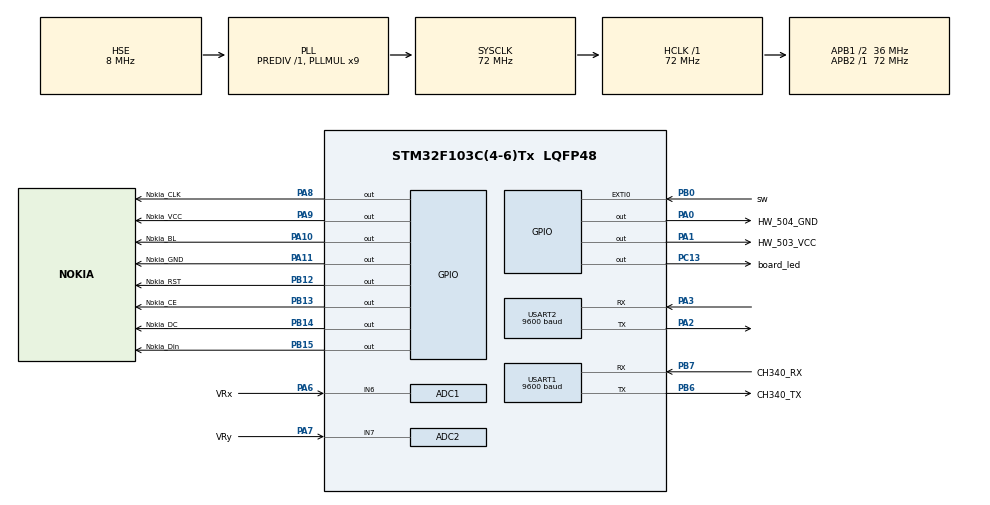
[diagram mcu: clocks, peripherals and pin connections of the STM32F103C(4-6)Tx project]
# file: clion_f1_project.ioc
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ADC1.Channel-4\#ChannelRegularConversion=ADC_CHANNEL_6
ADC1.ContinuousConvMode=DISABLE
ADC1.DataAlign=ADC_DATAALIGN_RIGHT
ADC1.EnableAnalogWatchDog=false
ADC1.EnableInjectedConversion=DISABLE
ADC1.EnableRegularConversion=ENABLE
ADC1.InjNumberOfConversion=1
ADC1.NbrOfConversion=1
ADC1.NbrOfConversionFlag=1
ADC1.Rank-4\#ChannelRegularConversion=1
ADC1.SamplingTime-4\#ChannelRegularConversion=ADC_SAMPLETIME_1CYCLE_5
ADC1.master=1
ADC2.Channel-4\#ChannelRegularConversion=ADC_CHANNEL_7
ADC2.ContinuousConvMode=DISABLE
ADC2.NbrOfConversionFlag=1
ADC2.Rank-4\#ChannelRegularConversion=1
ADC2.SamplingTime-4\#ChannelRegularConversion=ADC_SAMPLETIME_1CYCLE_5
Dma.ADC1.0.Direction=DMA_PERIPH_TO_MEMORY
Dma.ADC1.0.Instance=DMA1_Channel1
Dma.ADC1.0.MemDataAlignment=DMA_MDATAALIGN_HALFWORD
Dma.ADC1.0.MemInc=DMA_MINC_ENABLE
Dma.ADC1.0.Mode=DMA_NORMAL
Dma.ADC1.0.PeriphDataAlignment=DMA_PDATAALIGN_HALFWORD
Dma.ADC1.0.PeriphInc=DMA_PINC_DISABLE
Dma.ADC1.0.Priority=DMA_PRIORITY_HIGH
Dma.Request0=ADC1
Mcu.Family=STM32F1
Mcu.Name=STM32F103C(4-6)Tx
Mcu.Package=LQFP48
NVIC.ADC1_2_IRQn=true\:7\:0\:true\:false\:true\:true\:true\:true
NVIC.DMA1_Channel1_IRQn=true\:0\:0\:false\:false\:true\:false\:true\:true
NVIC.EXTI0_IRQn=true\:6\:0\:true\:false\:true\:true\:true\:true
NVIC.PriorityGroup=NVIC_PRIORITYGROUP_4
NVIC.TIM3_IRQn=true\:6\:0\:true\:false\:true\:true\:true\:true
NVIC.USART1_IRQn=true\:3\:0\:true\:false\:true\:true\:true\:true
PA0-WKUP.GPIO_Label=HW_504_GND
PA0-WKUP.Signal=GPIO_Output
PA1.GPIO_Label=HW_503_VCC
PA1.Signal=GPIO_Output
PA10.GPIO_Label=Nokia_BL
PA10.GPIO_Speed=GPIO_SPEED_FREQ_MEDIUM
PA10.Signal=GPIO_Output
PA11.GPIO_Label=Nokia_GND
PA11.Signal=GPIO_Output
PA13.Mode=Serial_Wire
PA13.Signal=SYS_JTMS-SWDIO
PA14.Mode=Serial_Wire
PA14.Signal=SYS_JTCK-SWCLK
PA2.Mode=Asynchronous
PA2.Signal=USART2_TX
PA3.Mode=Asynchronous
PA3.Signal=USART2_RX
PA6.GPIO_Label=VRx
PA6.Signal=ADCx_IN6
PA7.GPIO_Label=VRy
PA7.Signal=ADCx_IN7
PA8.GPIO_Label=Nokia_CLK
PA8.GPIO_Speed=GPIO_SPEED_FREQ_HIGH
PA8.Signal=GPIO_Output
PA9.GPIO_Label=Nokia_VCC
PA9.Signal=GPIO_Output
PB0.GPIO_Label=sw
PB0.GPIO_ModeDefaultEXTI=GPIO_MODE_IT_FALLING
PB0.GPIO_PuPd=GPIO_PULLUP
PB0.Signal=GPXTI0
PB12.GPIO_Label=Nokia_RST
PB12.GPIO_Speed=GPIO_SPEED_FREQ_HIGH
PB12.Signal=GPIO_Output
PB13.GPIO_Label=Nokia_CE
PB13.GPIO_Speed=GPIO_SPEED_FREQ_HIGH
PB13.Signal=GPIO_Output
PB14.GPIO_Label=Nokia_DC
PB14.GPIO_Speed=GPIO_SPEED_FREQ_MEDIUM
PB14.Signal=GPIO_Output
PB15.GPIO_Label=Nokia_Din
PB15.GPIO_Speed=GPIO_SPEED_FREQ_MEDIUM
PB15.Signal=GPIO_Output
PB6.GPIO_Label=CH340_TX
PB6.Mode=Asynchronous
PB6.Signal=USART1_TX
PB7.GPIO_Label=CH340_RX
PB7.Mode=Asynchronous
PB7.Signal=USART1_RX
PC13-TAMPER-RTC.GPIO_Label=board_led
PC13-TAMPER-RTC.GPIO_ModeDefaultOutputPP=GPIO_MODE_OUTPUT_PP
PC13-TAMPER-RTC.GPIO_PuPd=GPIO_PULLUP
PC13-TAMPER-RTC.GPIO_Speed=GPIO_SPEED_FREQ_HIGH
PC13-TAMPER-RTC.Signal=GPIO_Output
PD0-OSC_IN.Mode=HSE-External-Oscillator
PD0-OSC_IN.Signal=RCC_OSC_IN
PD1-OSC_OUT.Mode=HSE-External-Oscillator
PD1-OSC_OUT.Signal=RCC_OSC_OUT
ProjectManager.HeapSize=0x500
ProjectManager.StackSize=0x800
ProjectManager.TargetToolchain=STM32CubeIDE
RCC.ADCPresc=RCC_ADCPCLK2_DIV6
RCC.AHBFreq_Value=72000000
RCC.APB1CLKDivider=RCC_HCLK_DIV2
RCC.APB1Freq_Value=36000000
RCC.APB1TimFreq_Value=72000000
RCC.APB2Freq_Value=72000000
RCC.APB2TimFreq_Value=72000000
RCC.HCLKFreq_Value=72000000
RCC.PLLMUL=RCC_PLL_MUL9
RCC.PLLSourceVirtual=RCC_PLLSOURCE_HSE
RCC.SYSCLKFreq_VALUE=72000000
RCC.SYSCLKSource=RCC_SYSCLKSOURCE_PLLCLK
RCC.USBFreq_Value=48000000
RCC.USBPrescaler=RCC_USBCLKSOURCE_PLL_DIV1_5
SH.ADCx_IN6.0=ADC1_IN6,IN6
SH.ADCx_IN7.0=ADC1_IN7
SH.ADCx_IN7.1=ADC2_IN7,IN7
TIM3.AutoReloadPreload=TIM_AUTORELOAD_PRELOAD_ENABLE
TIM3.Period=1000
TIM3.Prescaler=72-1
USART1.BaudRate=9600
USART1.VirtualMode=VM_ASYNC
USART2.BaudRate=9600
USART2.VirtualMode=VM_ASYNC
VP_TIM3_VS_ClockSourceINT.Mode=Internal
board=custom

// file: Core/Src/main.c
/* USER CODE BEGIN Header */
/**
  ******************************************************************************
  * @file           : main.c
  * @brief          : Main program body
  ******************************************************************************
  * @attention
  *
  * Copyright (c) 2022 STMicroelectronics.
  * All rights reserved.
  *
  * This software is licensed under terms that can be found in the LICENSE file
  * in the root directory of this software component.
  * If no LICENSE file comes with this software, it is provided AS-IS.
  *
  ******************************************************************************
  */
/* USER CODE END Header */
#include "main.h"
#include "adc.h"
#include "dma.h"
#include "tim.h"
#include "usart.h"
#include "gpio.h"

/* USER CODE BEGIN Includes */
#include <stdio.h>
/* USER CODE END Includes */

/* USER CODE BEGIN PD */

/*
 * BlueTooth define
 */
#define RecDataSize 32

/*
 * Nokia 5110 define
 */
#define Nokia_RST_H()   HAL_GPIO_WritePin(Nokia_RST_GPIO_Port, Nokia_RST_Pin, GPIO_PIN_SET)
#define Nokia_RST_L()   HAL_GPIO_WritePin(Nokia_RST_GPIO_Port, Nokia_RST_Pin, GPIO_PIN_RESET)
#define Nokia_CE_H()    HAL_GPIO_WritePin(Nokia_CE_GPIO_Port, Nokia_CE_Pin, GPIO_PIN_SET)
#define Nokia_CE_L()    HAL_GPIO_WritePin(Nokia_CE_GPIO_Port, Nokia_CE_Pin, GPIO_PIN_RESET)
#define Nokia_DC_DATA() HAL_GPIO_WritePin(Nokia_DC_GPIO_Port, Nokia_DC_Pin, GPIO_PIN_SET)
#define Nokia_DC_CMD()  HAL_GPIO_WritePin(Nokia_DC_GPIO_Port, Nokia_DC_Pin, GPIO_PIN_RESET)
#define Nokia_Din_H()   HAL_GPIO_WritePin(Nokia_Din_GPIO_Port, Nokia_Din_Pin, GPIO_PIN_SET)
#define Nokia_Din_L()   HAL_GPIO_WritePin(Nokia_Din_GPIO_Port, Nokia_Din_Pin, GPIO_PIN_RESET)
#define Nokia_CLK_H()   HAL_GPIO_WritePin(Nokia_CLK_GPIO_Port, Nokia_CLK_Pin, GPIO_PIN_SET)
#define Nokia_CLK_L()   HAL_GPIO_WritePin(Nokia_CLK_GPIO_Port, Nokia_CLK_Pin, GPIO_PIN_RESET)
#define Nokia_VCC_H()   HAL_GPIO_WritePin(Nokia_VCC_GPIO_Port, Nokia_VCC_Pin, GPIO_PIN_SET)
#define Nokia_BL_H()    HAL_GPIO_WritePin(Nokia_BL_GPIO_Port, Nokia_BL_Pin, GPIO_PIN_SET)
#define Nokia_GND_L()   HAL_GPIO_WritePin(Nokia_GND_GPIO_Port, Nokia_GND_Pin, GPIO_PIN_RESET)

/* USER CODE END PD */

/* USER CODE BEGIN PM */

/*
 * BlueTooth macro
 */

/*
 * Nokia 5110 macro
 */
typedef enum
{
    DC_CMD  = 0,//写命令
    DC_DATA = 1 //写数据
}DCType;

/* USER CODE END PM */

/* USER CODE BEGIN PV */

/*
 * BlueTooth variables
 */
uint8_t RecBuffer;
uint8_t RecData[RecDataSize] = {0};
uint32_t DataPosition = 0;
int RecFlag =0;

/*
 * Nokia 5110 variables
 */

uint8_t Nokia_Init_Display[6][14] ={
        "**************",//line 1
        "**************",//line 2
        "  I Love YYY  ",//line 3
        "**************",//line 4
        "**************",//line 5
        "**************" //line 6
};

uint8_t Nokia_ADC_Display[6][14] ={
        "**************",//line 1
        "**************",//line 2
        "   Vx = 0000  ",//line 3
        "   Vy = 0000  ",//line 4
        "**************",//line 5
        "**************" //line 6
};

//char Nokia_Display[6][14] = {0};

const unsigned char  Font6x8[][6] ={
        { 0x00, 0x00, 0x00, 0x00, 0x00, 0x00 },   // sp
        { 0x00, 0x00, 0x00, 0x2f, 0x00, 0x00 },   // !
        { 0x00, 0x00, 0x07, 0x00, 0x07, 0x00 },   // "
        { 0x00, 0x14, 0x7f, 0x14, 0x7f, 0x14 },   // #
        { 0x00, 0x24, 0x2a, 0x7f, 0x2a, 0x12 },   // $
        { 0x00, 0x62, 0x64, 0x08, 0x13, 0x23 },   // %
        { 0x00, 0x36, 0x49, 0x55, 0x22, 0x50 },   // &
        { 0x00, 0x00, 0x05, 0x03, 0x00, 0x00 },   // '
        { 0x00, 0x00, 0x1c, 0x22, 0x41, 0x00 },   // (
        { 0x00, 0x00, 0x41, 0x22, 0x1c, 0x00 },   // )
        { 0x00, 0x14, 0x08, 0x3E, 0x08, 0x14 },   // *
        { 0x00, 0x08, 0x08, 0x3E, 0x08, 0x08 },   // +
        { 0x00, 0x00, 0x00, 0xA0, 0x60, 0x00 },   // ,
        { 0x00, 0x08, 0x08, 0x08, 0x08, 0x08 },   // -
        { 0x00, 0x00, 0x60, 0x60, 0x00, 0x00 },   // .
        { 0x00, 0x20, 0x10, 0x08, 0x04, 0x02 },   // /
        { 0x00, 0x3E, 0x51, 0x49, 0x45, 0x3E },   // 0
        { 0x00, 0x00, 0x42, 0x7F, 0x40, 0x00 },   // 1
        { 0x00, 0x42, 0x61, 0x51, 0x49, 0x46 },   // 2
        { 0x00, 0x21, 0x41, 0x45, 0x4B, 0x31 },   // 3
        { 0x00, 0x18, 0x14, 0x12, 0x7F, 0x10 },   // 4
        { 0x00, 0x27, 0x45, 0x45, 0x45, 0x39 },   // 5
        { 0x00, 0x3C, 0x4A, 0x49, 0x49, 0x30 },   // 6
        { 0x00, 0x01, 0x71, 0x09, 0x05, 0x03 },   // 7
        { 0x00, 0x36, 0x49, 0x49, 0x49, 0x36 },   // 8
        { 0x00, 0x06, 0x49, 0x49, 0x29, 0x1E },   // 9
        { 0x00, 0x00, 0x36, 0x36, 0x00, 0x00 },   // :
        { 0x00, 0x00, 0x56, 0x36, 0x00, 0x00 },   // ;
        { 0x00, 0x08, 0x14, 0x22, 0x41, 0x00 },   // <
        { 0x00, 0x14, 0x14, 0x14, 0x14, 0x14 },   // =
        { 0x00, 0x00, 0x41, 0x22, 0x14, 0x08 },   // >
        { 0x00, 0x02, 0x01, 0x51, 0x09, 0x06 },   // ?
        { 0x00, 0x32, 0x49, 0x59, 0x51, 0x3E },   // @
        { 0x00, 0x7C, 0x12, 0x11, 0x12, 0x7C },   // A
        { 0x00, 0x7F, 0x49, 0x49, 0x49, 0x36 },   // B
        { 0x00, 0x3E, 0x41, 0x41, 0x41, 0x22 },   // C
        { 0x00, 0x7F, 0x41, 0x41, 0x22, 0x1C },   // D
        { 0x00, 0x7F, 0x49, 0x49, 0x49, 0x41 },   // E
        { 0x00, 0x7F, 0x09, 0x09, 0x09, 0x01 },   // F
        { 0x00, 0x3E, 0x41, 0x49, 0x49, 0x7A },   // G
        { 0x00, 0x7F, 0x08, 0x08, 0x08, 0x7F },   // H
        { 0x00, 0x00, 0x41, 0x7F, 0x41, 0x00 },   // I
        { 0x00, 0x20, 0x40, 0x41, 0x3F, 0x01 },   // J
        { 0x00, 0x7F, 0x08, 0x14, 0x22, 0x41 },   // K
        { 0x00, 0x7F, 0x40, 0x40, 0x40, 0x40 },   // L
        { 0x00, 0x7F, 0x02, 0x0C, 0x02, 0x7F },   // M
        { 0x00, 0x7F, 0x04, 0x08, 0x10, 0x7F },   // N
        { 0x00, 0x3E, 0x41, 0x41, 0x41, 0x3E },   // O
        { 0x00, 0x7F, 0x09, 0x09, 0x09, 0x06 },   // P
        { 0x00, 0x3E, 0x41, 0x51, 0x21, 0x5E },   // Q
        { 0x00, 0x7F, 0x09, 0x19, 0x29, 0x46 },   // R
        { 0x00, 0x46, 0x49, 0x49, 0x49, 0x31 },   // S
        { 0x00, 0x01, 0x01, 0x7F, 0x01, 0x01 },   // T
        { 0x00, 0x3F, 0x40, 0x40, 0x40, 0x3F },   // U
        { 0x00, 0x1F, 0x20, 0x40, 0x20, 0x1F },   // V
        { 0x00, 0x3F, 0x40, 0x38, 0x40, 0x3F },   // W
        { 0x00, 0x63, 0x14, 0x08, 0x14, 0x63 },   // X
        { 0x00, 0x07, 0x08, 0x70, 0x08, 0x07 },   // Y
        { 0x00, 0x61, 0x51, 0x49, 0x45, 0x43 },   // Z
        { 0x00, 0x00, 0x7F, 0x41, 0x41, 0x00 },   // [
        { 0x00, 0x55, 0x2A, 0x55, 0x2A, 0x55 },   // 55
        { 0x00, 0x00, 0x41, 0x41, 0x7F, 0x00 },   // ]
        { 0x00, 0x04, 0x02, 0x01, 0x02, 0x04 },   // ^
        { 0x00, 0x40, 0x40, 0x40, 0x40, 0x40 },   // _
        { 0x00, 0x00, 0x01, 0x02, 0x04, 0x00 },   // '
        { 0x00, 0x20, 0x54, 0x54, 0x54, 0x78 },   // a
        { 0x00, 0x7F, 0x48, 0x44, 0x44, 0x38 },   // b
        { 0x00, 0x38, 0x44, 0x44, 0x44, 0x20 },   // c
        { 0x00, 0x38, 0x44, 0x44, 0x48, 0x7F },   // d
        { 0x00, 0x38, 0x54, 0x54, 0x54, 0x18 },   // e
        { 0x00, 0x08, 0x7E, 0x09, 0x01, 0x02 },   // f
        { 0x00, 0x18, 0xA4, 0xA4, 0xA4, 0x7C },   // g
        { 0x00, 0x7F, 0x08, 0x04, 0x04, 0x78 },   // h
        { 0x00, 0x00, 0x44, 0x7D, 0x40, 0x00 },   // i
        { 0x00, 0x40, 0x80, 0x84, 0x7D, 0x00 },   // j
        { 0x00, 0x7F, 0x10, 0x28, 0x44, 0x00 },   // k
        { 0x00, 0x00, 0x41, 0x7F, 0x40, 0x00 },   // l
        { 0x00, 0x7C, 0x04, 0x18, 0x04, 0x78 },   // m
        { 0x00, 0x7C, 0x08, 0x04, 0x04, 0x78 },   // n
        { 0x00, 0x38, 0x44, 0x44, 0x44, 0x38 },   // o
        { 0x00, 0x7C, 0x08, 0x04, 0x04, 0x08 },   // r
        { 0x00, 0x48, 0x54, 0x54, 0x54, 0x20 },   // s
        { 0x00, 0x04, 0x3F, 0x44, 0x40, 0x20 },   // t
        { 0x00, 0x3C, 0x40, 0x40, 0x20, 0x7C },   // u
        { 0x00, 0xFC, 0x24, 0x24, 0x24, 0x18 },   // p
        { 0x00, 0x18, 0x24, 0x24, 0x18, 0xFC },   // q
        { 0x00, 0x1C, 0x20, 0x40, 0x20, 0x1C },   // v
        { 0x00, 0x3C, 0x40, 0x30, 0x40, 0x3C },   // w
        { 0x00, 0x44, 0x28, 0x10, 0x28, 0x44 },   // x
        { 0x00, 0x1C, 0xA0, 0xA0, 0xA0, 0x7C },   // y
        { 0x00, 0x44, 0x64, 0x54, 0x4C, 0x44 },   // z
        { 0x14, 0x14, 0x14, 0x14, 0x14, 0x14 }    // horiz lines
        };

/*
 * HW_504 variables
 */
uint16_t Vx_Value = 0;
uint16_t Voltage[2] ={0};
uint16_t Vy_Value = 0;
uint16_t AD_Flag = 0;
/* USER CODE END PV */

void SystemClock_Config(void);
/* USER CODE BEGIN PFP */

/*
 * System function
 */
//HAL_StatusTypeDef user_delay_us(uint32_t us);
//HAL_StatusTypeDef user_delay_ms(uint32_t ms);
void user_print(const char *fmt,...);

/*
 * 中断回调函数，处理中断控制
 */
void HAL_UART_RxCpltCallback(UART_HandleTypeDef *huart);
void HAL_GPIO_EXTI_Callback(uint16_t GPIO_Pin);
void HAL_ADC_ConvCpltCallback(ADC_HandleTypeDef* hadc);
void HAL_TIM_PeriodElapsedCallback(TIM_HandleTypeDef *htim);

/*
 * Nokia 5110 LCD Function
 */
void Nokia_Init(void);
void Nokia_Clear(void);
void Nokia_SetXY(uint8_t X,uint8_t Y);
void Nokia_Wbyte(uint8_t data,DCType dc);
void Nokia_DisplayChar(uint8_t character);
void Nokia_DisplayString(uint8_t X,uint8_t Y,uint8_t * str);
void Nokia_DisplayFullFrame(uint8_t array[6][14]);
void Nokia_DisplayADC(void);

/*
 * HW-504 function
 */
void HW_504_Init(void);

/* USER CODE END PFP */

int main(void)
{

  /* MCU Configuration--------------------------------------------------------*/

  /* Reset of all peripherals, Initializes the Flash interface and the Systick. */
  HAL_Init();

  /* Configure the system clock */
  SystemClock_Config();

  /* Initialize all configured peripherals */
  MX_GPIO_Init();
  MX_DMA_Init();
  MX_USART1_UART_Init();
  MX_ADC1_Init();
  MX_TIM3_Init();
  MX_USART2_UART_Init();
  MX_ADC2_Init();
  /* USER CODE BEGIN 2 */
//    RetargetInit(&huart1);
    HAL_ADCEx_Calibration_Start(&hadc1);    //AD校准
    HAL_ADCEx_Calibration_Start(&hadc2);    //AD校准
    HW_504_Init();
//    HAL_UART_Receive_IT(&huart1,&RecBuffer,1);
    HAL_UART_Receive_IT(&huart1,&RecBuffer,1);
//    user_delay_ms(1);
    HAL_Delay(1);
    Nokia_Init();
//    user_delay_ms(1);
    HAL_Delay(1);
    Nokia_Clear();

    Nokia_DisplayString(0,0,(uint8_t *)"**************");//1
    Nokia_DisplayString(0,1,(uint8_t *)"**************");//2
    Nokia_DisplayString(0,2,(uint8_t *)"  I Love YYY  ");//3
    Nokia_DisplayString(0,3,(uint8_t *)"  I Love YYY  ");//4
    Nokia_DisplayString(0,4,(uint8_t *)"**************");//5
    Nokia_DisplayString(0,5,(uint8_t *)"**************");//6

  /* USER CODE END 2 */

  /* Infinite loop */
  /* USER CODE BEGIN WHILE */
  int adc;
  const char digits[11] ="0123456789";
  uint8_t adc_value[20] = "0123\r\n";
  while (1)
  {
      HAL_ADC_Start(&hadc1);
      HAL_ADC_PollForConversion(&hadc1,50);
      HAL_ADC_Start(&hadc2);
      HAL_ADC_PollForConversion(&hadc2,50);

      if(HAL_IS_BIT_SET(HAL_ADC_GetState(&hadc1),HAL_ADC_STATE_REG_EOC))
      {
          adc = HAL_ADC_GetValue(&hadc1);
          for(int i =3;i>=0;i--)
          {
              adc_value[i]=digits[adc%10];
              adc /= 10;
          }
          HAL_UART_Transmit(&huart2 , (uint8_t *)"X = ",4,0xffff);
          HAL_UART_Transmit(&huart2 , (uint8_t *)adc_value,20,0xffff);
      }
 //     user_delay_ms(1000000);
      HAL_Delay(500);
      HAL_UART_Transmit(&huart2 , (uint8_t *)"\r\n",2,0xffff);
//      HAL_ADC_Start(&hadc2);
//      HAL_ADC_PollForConversion(&hadc2,50);
//
      if(HAL_IS_BIT_SET(HAL_ADC_GetState(&hadc2),HAL_ADC_STATE_REG_EOC))
      {
          adc = HAL_ADC_GetValue(&hadc2);
          for(int i =3;i>=0;i--)
          {
              adc_value[i]=digits[adc%10];
              adc /= 10;
          }
          HAL_UART_Transmit(&huart2 , (uint8_t *)"Y = ",4,0xffff);
          HAL_UART_Transmit(&huart2 , (uint8_t *)adc_value,20,0xffff);
      }
 //     user_delay_ms(1000000);
      HAL_Delay(500);
      HAL_UART_Transmit(&huart2 , (uint8_t *)"\r\n",2,0xffff);
    /* USER CODE END WHILE */

  }
}

void SystemClock_Config(void)
{
  RCC_OscInitTypeDef RCC_OscInitStruct = {0};
  RCC_ClkInitTypeDef RCC_ClkInitStruct = {0};
  RCC_PeriphCLKInitTypeDef PeriphClkInit = {0};

  /** Initializes the RCC Oscillators according to the specified parameters
  * in the RCC_OscInitTypeDef structure.
  */
  RCC_OscInitStruct.OscillatorType = RCC_OSCILLATORTYPE_HSE;
  RCC_OscInitStruct.HSEState = RCC_HSE_ON;
  RCC_OscInitStruct.HSEPredivValue = RCC_HSE_PREDIV_DIV1;
  RCC_OscInitStruct.HSIState = RCC_HSI_ON;
  RCC_OscInitStruct.PLL.PLLState = RCC_PLL_ON;
  RCC_OscInitStruct.PLL.PLLSource = RCC_PLLSOURCE_HSE;
  RCC_OscInitStruct.PLL.PLLMUL = RCC_PLL_MUL9;
  if (HAL_RCC_OscConfig(&RCC_OscInitStruct) != HAL_OK)
  {
    Error_Handler();
  }

  /** Initializes the CPU, AHB and APB buses clocks
  */
  RCC_ClkInitStruct.ClockType = RCC_CLOCKTYPE_HCLK|RCC_CLOCKTYPE_SYSCLK
                              |RCC_CLOCKTYPE_PCLK1|RCC_CLOCKTYPE_PCLK2;
  RCC_ClkInitStruct.SYSCLKSource = RCC_SYSCLKSOURCE_PLLCLK;
  RCC_ClkInitStruct.AHBCLKDivider = RCC_SYSCLK_DIV1;
  RCC_ClkInitStruct.APB1CLKDivider = RCC_HCLK_DIV2;
  RCC_ClkInitStruct.APB2CLKDivider = RCC_HCLK_DIV1;

  if (HAL_RCC_ClockConfig(&RCC_ClkInitStruct, FLASH_LATENCY_2) != HAL_OK)
  {
    Error_Handler();
  }
  PeriphClkInit.PeriphClockSelection = RCC_PERIPHCLK_ADC;
  PeriphClkInit.AdcClockSelection = RCC_ADCPCLK2_DIV6;
  if (HAL_RCCEx_PeriphCLKConfig(&PeriphClkInit) != HAL_OK)
  {
    Error_Handler();
  }
}

/* USER CODE BEGIN 4 */
//HAL_StatusTypeDef user_delay_us(uint32_t us)
//{
//    uint32_t temp;
//
//    if ((us*72 - 1UL) > SysTick_LOAD_RELOAD_Msk)
//    {
//        return HAL_ERROR;                                                   /* Reload value impossible */
//    }
//
//    SysTick->LOAD = (uint32_t)(us*72 - 1UL);
//    SysTick->VAL = 0;//清空计数器
//    SysTick->CTRL = 0x01;//0->enable 1->tickint(设置为1时开启中断请求) 2->clksource 16->countflag(只读，为1表明计数完成)
//
//
//    do {
//        temp = SysTick->CTRL;
//    }while((temp&0x01)&&(temp&(1<<16)));//等待计数完成
//
//    SysTick->CTRL=0x00;
//    SysTick->VAL=0x00;
//
//    return HAL_OK;
//}
//
//HAL_StatusTypeDef user_delay_ms(uint32_t ms)
//{
//    uint32_t i;
//    for( i=0;i<ms;i++)
//        user_delay_us(1000);
//    return HAL_OK;
//}

//void user_print(const char *fmt, ...)// custom printf() function
//{
//    unsigned char string[80];
//
//    va_list arg;
//    va_start(arg, fmt);
//    if (0 < vsprintf((char *)string, fmt, arg)) // build string
//        {
//        HAL_UART_Transmit(&huart1, string, strlen((const char *)string), 0xffffff); // send message via UART
//        } else {}
//    va_end(arg);
//}

void HAL_UART_RxCpltCallback(UART_HandleTypeDef *huart)
{
    if(huart->Instance == USART1)
    {
        if(DataPosition >= RecDataSize-1)
        {
            DataPosition = 0;
            HAL_UART_Transmit(&huart1 , (uint8_t *)"Data overflow",20,0xffff);
        }
        else
        {
            RecData[DataPosition++] = RecBuffer;

            if(RecBuffer == (uint8_t)'1')
                RecFlag ++;
            else
                RecFlag = 0;

            //        HAL_UART_Transmit(&huart2,&RecBuffer,1,0xffff);

            if(RecFlag == 3)
            {
                if((RecData[DataPosition-6] == (uint8_t)'d')&&(RecData[DataPosition-5] == (uint8_t)'s')&&(RecData[DataPosition-4] == (uint8_t)'p'))
                {
                    Nokia_DisplayFullFrame(Nokia_Init_Display);
//                        Nokia_DisplayString(0,0,(uint8_t *)"**************");//1
//                        Nokia_DisplayString(0,1,(uint8_t *)"**************");//2
//                        Nokia_DisplayString(0,2,(uint8_t *)"  I Love YYY  ");//3
//                        Nokia_DisplayString(0,3,(uint8_t *)"  I Love YYY  ");//4
//                        Nokia_DisplayString(0,4,(uint8_t *)"**************");//5
//                        Nokia_DisplayString(0,5,(uint8_t *)"**************");//6
                }
                else if((RecData[DataPosition-6] == (uint8_t)'c')&&(RecData[DataPosition-5] == (uint8_t)'l')&&(RecData[DataPosition-4] == (uint8_t)'r'))
                {
                    Nokia_Clear();
                }
                HAL_UART_Transmit(&huart1,&RecData,DataPosition,0xffff);
                while(HAL_UART_GetState(&huart1) == HAL_UART_STATE_BUSY_TX);//等待发送完成
                RecFlag = 0;
                DataPosition = 0;
            }

            //        if((RecData[DataPosition-2] =0x0d)&&(RecData[DataPosition-1] =0x0a))//0x0d0a对应\r\n
            //        {
            //            HAL_UART_Transmit(&huart1,&RecData,RecDataSize,0xffff);
            //            while(HAL_UART_GetState(&huart1) == HAL_UART_STATE_BUSY_TX);//等待发送完成
            //            DataPosition = 0;
            //            memset(RecData,0x00,sizeof(RecDataSize));
            //        }
        }
        HAL_UART_Receive_IT(&huart1,&RecBuffer,1); //重新启动接收中断
    }

}

void HAL_GPIO_EXTI_Callback(uint16_t GPIO_Pin)
{
    if(GPIO_Pin == sw_Pin)
    {
//        user_delay_ms(20);
        HAL_Delay(20);
        if(HAL_GPIO_ReadPin(sw_GPIO_Port ,sw_Pin) == RESET)
        {
//            user_delay_ms(20);
            HAL_Delay(20);
            if(HAL_GPIO_ReadPin(sw_GPIO_Port ,sw_Pin) == RESET)
            HAL_GPIO_TogglePin(board_led_GPIO_Port, board_led_Pin);
        }
        __HAL_GPIO_EXTI_CLEAR_IT(sw_Pin);
    }
}

void HAL_ADC_ConvCpltCallback(ADC_HandleTypeDef* hadc)
{
    if(hadc->Instance == ADC1)
    {
        AD_Flag = 1;
        HAL_ADC_Stop_IT(&hadc1);    //关闭ADC1
        HAL_TIM_Base_Stop_IT(&htim3);  //关闭定时器
        Vx_Value = HAL_ADC_GetValue(&hadc1);//获取ADC1转换的值

        HAL_TIM_Base_Start_IT(&htim3);  //开启定时器
    }
    else if (hadc->Instance == ADC2)
    {
        AD_Flag = 2;
        HAL_ADC_Stop_IT(&hadc2);    //关闭ADC2
        HAL_TIM_Base_Stop_IT(&htim3);  //关闭定时器
        Vx_Value = HAL_ADC_GetValue(&hadc2);//获取ADC2转换的值

        HAL_TIM_Base_Start_IT(&htim3);  //开启定时器
    }
}

void HAL_TIM_PeriodElapsedCallback(TIM_HandleTypeDef *htim)
{
    if(htim->Instance == TIM3)
    {
        switch (AD_Flag) {
            case 0:
                HAL_ADC_Start_IT(&hadc1);
                break;
            case 1:
                HAL_ADC_Start_IT(&hadc2);
                break;
            default:
                Nokia_DisplayADC();
                break;
        }
    }
}

void Nokia_Wbyte(uint8_t data,DCType dc)
{
    //可以使用spi实现功能，也可以使用以下方式，实现过程更简单一点
    if(dc == DC_CMD)//写命令
        Nokia_DC_CMD();
    else if(dc == DC_DATA)//写数据
        Nokia_DC_DATA();
    //传输命令或数据
    for(uint8_t i=0;i<8;i++)
    {
        //检测数据时，在上升沿时获取数据，即应该在下降沿时切换数据，上升沿时会自动读取数据
        //并按照 MSB 先传输的方式进行数据的读取
        //要注意的是，下面可以不需要使用延时来控制clk的频率
        Nokia_CLK_L();
//        user_delay_us(1);
        if((data&0x80) == 0)
            Nokia_Din_L();
        else
            Nokia_Din_H();
//        user_delay_us(1);
        Nokia_CLK_H();
//        user_delay_us(1);
        data = data << 1;//数据移位
    }
}

void Nokia_Init(void)
{
    Nokia_VCC_H();
    Nokia_GND_L();

    //开启背景光
    Nokia_BL_H();

    Nokia_RST_L();
//    user_delay_ms(1);
    HAL_Delay(1);
    Nokia_RST_H();

    Nokia_CE_H();
    HAL_Delay(1);
//    user_delay_ms(1);
    Nokia_CE_L();

    Nokia_Wbyte(0x21,DC_CMD);//PD = 0，V = 0，H = 1 进入拓展指令设置
    Nokia_Wbyte(0xC8,DC_CMD);//设置偏置电压Vop
    // V_lcd=3.06+Vop*0.06 V_lcd[3.00,10.68] 取Vop=72D=48H->V_lcd=7.38
    Nokia_Wbyte(0x06,DC_CMD);//温度校正 温度系数为 2
    Nokia_Wbyte(0x13,DC_CMD);//根据手册直接查询即可 混合率为1:48 (对比度)
    Nokia_Wbyte(0x20,DC_CMD);//PD = 0，V = 0，H = 0 选择水平寻址 进入进本命令设置
    Nokia_Wbyte(0x0C,DC_CMD);//设定显示模式，0x0D反转显示.0X0C正常
}

void Nokia_SetXY(uint8_t X,uint8_t Y)
{
    //字符需要使用8*6个像素点,即用6字节表示一个英文字符，水平模式下X取值范围为[0,84/6 - 1=13] Y为[0,6-1=5]
    if(X>13)
        X = 13;
    if(Y>5)
        Y = 5;
    X *= 6;

    Nokia_Wbyte(0x20,DC_CMD);//设置H = 0，可以设置坐标的值
    Nokia_Wbyte(0x80 | X,DC_CMD);//设置x轴的坐标为X
    Nokia_Wbyte(0x40 | Y,DC_CMD);//设置y周的坐标为Y
}

void Nokia_Clear(void)
{
    uint16_t i;
    //H = 0 设置X，Y的地址为令，并依次清除数据
    Nokia_Wbyte(0x20,DC_CMD);//设置H = 0，可以设置坐标的值
    Nokia_Wbyte(0x80, DC_CMD);//RAM X=0
    Nokia_Wbyte(0x40, DC_CMD);//RAM Y=0
    for(i=0; i<504; i++)//6*84=504个byte
        Nokia_Wbyte(0, DC_DATA);
}

void Nokia_DisplayChar(uint8_t character)
{
    character -= 32;
    for(uint8_t n = 0; n < 6 ; n++)
        Nokia_Wbyte(Font6x8[character][n],DC_DATA);
}

void Nokia_DisplayString(uint8_t X,uint8_t Y,uint8_t * str)
{
    uint8_t * s = str;
    uint8_t send_buffer[504]={0};//一帧画面最多504个字节
    int buffer_index = 0;
    if(s == NULL)
    {
        return ;
    }

    while(*s)
    {
        //将字符数据转换为串行字节数据，以便数据发送
        for(int i=0;i<6;i++)
        {
            send_buffer[buffer_index ++] = Font6x8[*s -32][i];
        }
        s++;
    }

    send_buffer[buffer_index++] = 0;

    Nokia_SetXY(X,Y);
    for(int i=0;i<buffer_index;i++)
    {
        Nokia_Wbyte(send_buffer[i],DC_DATA);
    }
}

void Nokia_DisplayFullFrame(uint8_t array[6][14])
{
    for(uint8_t j=0;j<6;j++)
    {
        Nokia_DisplayString(0,j,array[j]);
    }
}

void Nokia_DisplayADC(void)
{
    HAL_TIM_Base_Stop_IT(&htim3);  //关闭定时器

    uint8_t VX[4],VY[4];
    uint16_t tempVx = Vx_Value;
    uint16_t tempVy = Vy_Value;
    for(uint8_t i;i<4;i++)
    {
        //数字加48对应其ascii码的值
        VX[i]=tempVx%10+48;
        VY[i]=tempVy%10+48;
        tempVx /= 10;
        tempVy /= 10;
    }
    /*
     * uint8_t Nokia_ADC_Display[6][14] ={
        "**************",//line 1
        "**************",//line 2
        "   Vx = 0000  ",//line 3
        "   Vy = 0000  ",//line 4
        "**************",//line 5
        "**************" //line 6
    };
     */
    for(uint8_t i=0;i<4;i++)
    {
        Nokia_ADC_Display[2][8+i]=VX[i];
        Nokia_ADC_Display[3][8+i]=VY[i];
    }

    Nokia_DisplayFullFrame(Nokia_ADC_Display);
    AD_Flag = 0;

    HAL_TIM_Base_Start_IT(&htim3);  //开启定时器
}

void HW_504_Init(void)
{
    HAL_GPIO_WritePin(HW_504_GND_GPIO_Port, HW_504_GND_Pin, GPIO_PIN_RESET);
    HAL_GPIO_WritePin(HW_503_VCC_GPIO_Port, HW_503_VCC_Pin, GPIO_PIN_SET);
}
/* USER CODE END 4 */

void Error_Handler(void)
{
  __disable_irq();
  while (1)
  {
  }
}
